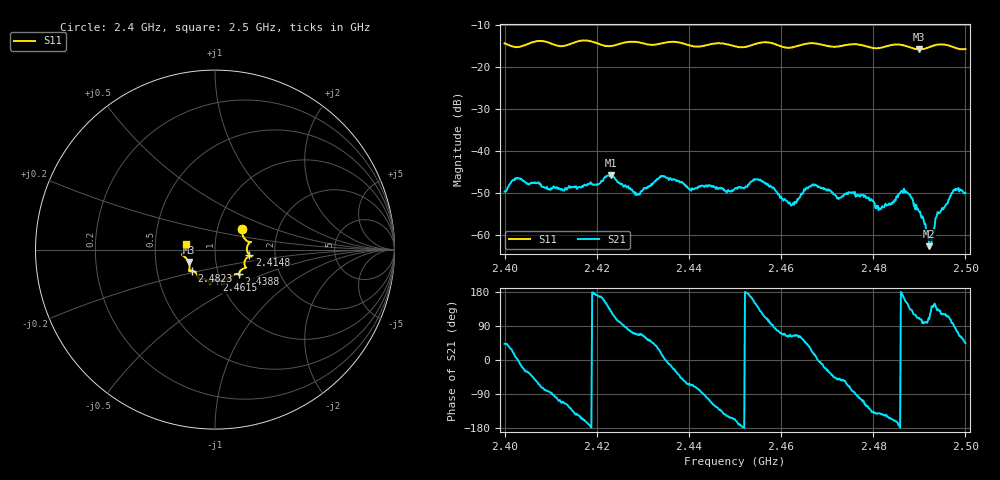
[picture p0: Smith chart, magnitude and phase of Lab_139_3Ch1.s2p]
# Hz S RI R 50
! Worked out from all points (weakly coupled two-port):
!   601 points, 2.4 GHz to 2.5 GHz, reference 50 ohm
!   highest |S21| = -45.69 dB at 2.423 GHz (marker M1); lowest = -62.6 dB at 2.4922 GHz (marker M2)
!   lowest |S11| = -15.8 dB at 2.49 GHz (marker M3), VSWR 1.39, Z = 36.9 - j5.28 ohm
!   |S11| at or under -10 dB: start of sweep to end of sweep
!   S12 and S22 are empty: the file has one direction only
!   S11 on the Smith chart (normalised r, x): 2.4 GHz: 1.31, +0.32; 2.4148 GHz: 1.47, -0.10; 2.4388 GHz: 1.25, -0.36; 2.4615 GHz: 0.97, -0.34; 2.4823 GHz: 0.75, -0.18; 2.5 GHz: 0.72, +0.04
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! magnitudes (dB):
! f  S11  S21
! 2.4 GHz  -14.3  -49.6
! 2.4028 GHz  -15.2  -46.4
! 2.4098 GHz  -14.3  -49.2
! 2.4148 GHz  -14.3  -48.5
! 2.4167 GHz  -13.7  -48.6
! 2.423 GHz  -15.0  -45.7
! 2.4288 GHz  -14.0  -50.1
! 2.4333 GHz  -14.5  -46.6
! 2.4388 GHz  -14.4  -47.6
! 2.45 GHz  -15.0  -48.8
! 2.455 GHz  -14.3  -46.6
! 2.4615 GHz  -15.4  -52.2
! 2.4628 GHz  -15.2  -52.7
! 2.4667 GHz  -14.3  -48.1
! 2.4823 GHz  -15.2  -53.3
! 2.4833 GHz  -14.9  -52.7
! 2.4867 GHz  -14.8  -48.9
! 2.49 GHz  -15.8  -54.3
! 2.4922 GHz  -15.2  -62.6
! 2.494 GHz  -14.6  -54.4
! 2.4973 GHz  -15.2  -49.4
! 2.5 GHz  -15.7  -49.8
